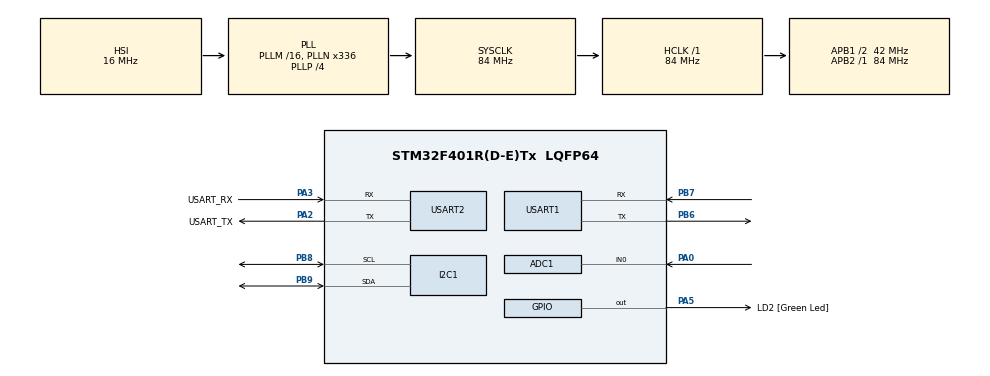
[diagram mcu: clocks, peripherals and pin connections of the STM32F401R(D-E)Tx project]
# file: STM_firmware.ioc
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ADC1.Channel-0\#ChannelRegularConversion=ADC_CHANNEL_0
ADC1.NbrOfConversionFlag=1
ADC1.Rank-0\#ChannelRegularConversion=1
ADC1.SamplingTime-0\#ChannelRegularConversion=ADC_SAMPLETIME_3CYCLES
ADC1.master=1
Mcu.Family=STM32F4
Mcu.Name=STM32F401R(D-E)Tx
Mcu.Package=LQFP64
NVIC.PriorityGroup=NVIC_PRIORITYGROUP_0
PA0-WKUP.Signal=ADCx_IN0
PA13.GPIO_Label=TMS
PA13.Mode=Serial_Wire
PA13.Signal=SYS_JTMS-SWDIO
PA14.GPIO_Label=TCK
PA14.Mode=Serial_Wire
PA14.Signal=SYS_JTCK-SWCLK
PA2.GPIO_Label=USART_TX
PA2.GPIO_Mode=GPIO_MODE_AF_PP
PA2.GPIO_PuPd=GPIO_NOPULL
PA2.GPIO_Speed=GPIO_SPEED_FREQ_LOW
PA2.Mode=Asynchronous
PA2.Signal=USART2_TX
PA3.GPIO_Label=USART_RX
PA3.GPIO_Mode=GPIO_MODE_AF_PP
PA3.GPIO_PuPd=GPIO_NOPULL
PA3.GPIO_Speed=GPIO_SPEED_FREQ_LOW
PA3.Mode=Asynchronous
PA3.Signal=USART2_RX
PA5.GPIO_Label=LD2 [Green Led]
PA5.GPIO_Mode=GPIO_MODE_OUTPUT_PP
PA5.GPIO_PuPd=GPIO_NOPULL
PA5.GPIO_Speed=GPIO_SPEED_FREQ_LOW
PA5.Signal=GPIO_Output
PB3.GPIO_Label=SWO
PB3.Signal=SYS_JTDO-SWO
PB6.Mode=Asynchronous
PB6.Signal=USART1_TX
PB7.Mode=Asynchronous
PB7.Signal=USART1_RX
PB8.Mode=I2C
PB8.Signal=I2C1_SCL
PB9.Mode=I2C
PB9.Signal=I2C1_SDA
PC14-OSC32_IN.Mode=LSE-External-Oscillator
PC14-OSC32_IN.Signal=RCC_OSC32_IN
PC15-OSC32_OUT.Mode=LSE-External-Oscillator
PC15-OSC32_OUT.Signal=RCC_OSC32_OUT
PH0\ -\ OSC_IN.Mode=HSE-External-Clock-Source
PH0\ -\ OSC_IN.Signal=RCC_OSC_IN
PH1\ -\ OSC_OUT.Mode=HSE-External-Clock-Source
PH1\ -\ OSC_OUT.Signal=RCC_OSC_OUT
ProjectManager.HeapSize=0x200
ProjectManager.StackSize=0x400
ProjectManager.TargetToolchain=STM32CubeIDE
RCC.48MHZClocksFreq_Value=48000000
RCC.AHBFreq_Value=84000000
RCC.APB1CLKDivider=RCC_HCLK_DIV2
RCC.APB1Freq_Value=42000000
RCC.APB1TimFreq_Value=84000000
RCC.APB2Freq_Value=84000000
RCC.APB2TimFreq_Value=84000000
RCC.CortexFreq_Value=84000000
RCC.HCLKFreq_Value=84000000
RCC.HSE_VALUE=8000000
RCC.HSI_VALUE=16000000
RCC.PLLN=336
RCC.PLLP=RCC_PLLP_DIV4
RCC.PLLQ=7
RCC.SYSCLKFreq_VALUE=84000000
RCC.SYSCLKSource=RCC_SYSCLKSOURCE_PLLCLK
RCC.VCOOutputFreq_Value=336000000
SH.ADCx_IN0.0=ADC1_IN0,IN0
USART1.VirtualMode=VM_ASYNC
USART2.VirtualMode=VM_ASYNC
board=NUCLEO-F401RE

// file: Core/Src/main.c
/* USER CODE BEGIN Header */
/**
  ******************************************************************************
  * @file           : main.c
  * @brief          : Main program body
  ******************************************************************************
  * @attention
  *
  * Copyright (c) 2024 STMicroelectronics.
  * All rights reserved.
  *
  * This software is licensed under terms that can be found in the LICENSE file
  * in the root directory of this software component.
  * If no LICENSE file comes with this software, it is provided AS-IS.
  *
  ******************************************************************************
  */
/* USER CODE END Header */
#include "main.h"

/* USER CODE BEGIN Includes */
#include <stdio.h>
#include <string.h>
/* USER CODE END Includes */

/* USER CODE BEGIN PTD */
typedef struct __attribute__((packed)) {
    uint8_t sof;
    float temperature;
    float humidity;
    float pressure;
    float voc;
    float co2;
    float lux;
    uint8_t crc;
    uint8_t eof;
} datapacket_t;

typedef struct {
    double par_t1, par_t2, par_t3, par_p1, par_p2, par_p3, par_p4, par_p5,
		par_p6, par_p7, par_p8, par_p9, par_p10, par_p11;
} bmp_calib_t;
/* USER CODE END PTD */

/* USER CODE BEGIN PD */
const unsigned char MICS_ADDRESS = 0x70;
const unsigned char HIH_ADDRESS  = 0x27;
unsigned char BMP_ADDRESS        = 0x76;	// Either 0x76 or 0x77 (will try both)

#define PACKET_SOF 0x55
#define PACKET_EOF 0xff

#define MICS_CMD_GET_STATUS 0x0C
#define MICS_VOC_VALUE 0
#define MICS_CO2_VALUE 1
#define MICS_RAW_VALUES 2
#define MICS_ERROR 5
/* USER CODE END PD */

/* USER CODE BEGIN PM */
#define BE_TO_LE(x) (x >> 8) | ((x & 0xff) << 8)  // Swap bytes

#define likely(x)       __builtin_expect(!!(x), 1)
#define unlikely(x)     __builtin_expect(!!(x), 0)
/* USER CODE END PM */

ADC_HandleTypeDef hadc1;

I2C_HandleTypeDef hi2c1;

UART_HandleTypeDef huart1;
UART_HandleTypeDef huart2;

void SystemClock_Config(void);
static void MX_GPIO_Init(void);
static void MX_USART2_UART_Init(void);
static void MX_ADC1_Init(void);
static void MX_I2C1_Init(void);
static void MX_USART1_UART_Init(void);
/* USER CODE BEGIN PFP */

/**
 * @brief Computes CRC
 * @param buffer Pointer to data on which CRC must be computed
 * @param size Size of the data
 * @retval Computed CRC
 */
static uint8_t calcCRC(uint8_t* buffer, size_t size) {
	uint16_t sum = 0;
	for (uint8_t i = 0; i < size; i++)
		sum += buffer[i];

	uint8_t crc = sum & 0xff;
	crc += (sum / 0x0100); 	// Add with carry
	crc = 0xFF-crc; 		// Complement

	return crc;
}

/**
 * @brief Writes data to BMP's registers
 * @param reg Which register to write to
 * @retval HAL_OK on success, HAL_ERROR otherwise
 */
static inline HAL_StatusTypeDef BMP_WriteRegister(uint8_t reg, uint8_t data) {
	return HAL_I2C_Mem_Write(&hi2c1, BMP_ADDRESS << 1, reg, I2C_MEMADD_SIZE_8BIT, &data, 1, 1000);
}

/**
 * @brief Configures the BMP
 * @param None
 * @retval HAL_OK on success, HAL_ERROR otherwise
 */
static inline HAL_StatusTypeDef BMP_ConfigSensor(void) {
	HAL_StatusTypeDef ret;

	// Soft reset the sensor
	ret = BMP_WriteRegister(0xE0, 0b10110110);
	if (unlikely(ret != HAL_OK))
		return ret;
	HAL_Delay(20);

	// Use 16X oversampling for pressure measurement, 2X for temp
	ret = BMP_WriteRegister(0x1c, 0b00001100);
	if (unlikely(ret != HAL_OK))
		return ret;

	// Use IIR filter coefficient 15
	ret = BMP_WriteRegister(0x1f, 0b00001000);
	if (unlikely(ret != HAL_OK))
		return ret;

	// 25Hz sample rate
	ret = BMP_WriteRegister(0x1d, 0b00000111);
	if (unlikely(ret != HAL_OK))
		return ret;

	// Normal mode, enable pressure and temperature
	ret = BMP_WriteRegister(0x1b, 0b00110011);

	return ret;
}

/**
 * @brief Reads calibration data from BMP
 * @param calib Pointer to where BMP's calibration data will be stored
 * @retval HAL_OK on success, HAL_ERROR otherwise
 */
static inline HAL_StatusTypeDef BMP_GetCalibrationData(bmp_calib_t* calib) {
	uint8_t buf[21];
	HAL_StatusTypeDef ret;

	ret = HAL_I2C_Mem_Read(
		&hi2c1,
		BMP_ADDRESS << 1,
		0x31,
		I2C_MEMADD_SIZE_8BIT,
		buf,
		21,
		1000
	);
	if (unlikely(ret != HAL_OK))
		return ret;

	/* 1 / 2^8 */
	calib->par_t1 = (buf[1] << 8) | buf[0];
	calib->par_t1 /= 0.00390625f;
	calib->par_t2 = (buf[3] << 8) | buf[2];
	calib->par_t2 /= 1073741824.0f;
	calib->par_t3 = buf[4];
	calib->par_t3 /= 281474976710656.0f;
	calib->par_p1 = (buf[6] << 8) | buf[5];
	calib->par_p1 -= 16384.0f;
	calib->par_p1 /= 1048576.0f;
	calib->par_p2 = (buf[8] << 8) | buf[7];
	calib->par_p2 -= 16384.0f;
	calib->par_p2 /= 536870912.0f;
	calib->par_p3 = buf[9];
	calib->par_p3 /= 4294967296.0f;
	calib->par_p4 = buf[10];
	calib->par_p4 /= 137438953472.0f;

	/* 1 / 2^3 */
	calib->par_p5 = (buf[12] << 8) | buf[11];
	calib->par_p5 /= 0.125f;
	calib->par_p6 = (buf[14] << 8) | buf[13];
	calib->par_p6 /= 64.0f;
	calib->par_p7 = buf[15];
	calib->par_p7 /= 256.0f;
	calib->par_p8 = buf[16];
	calib->par_p8 /= 32768.0f;
	calib->par_p9 = (buf[18] << 8) | buf[17];
	calib->par_p9 /= 281474976710656.0f;
	calib->par_p10 = buf[19];
	calib->par_p10 /= 281474976710656.0f;
	calib->par_p11 = buf[20];
	calib->par_p11 /= 36893488147419103232.0f;

	return HAL_OK;
}

/**
 * @brief Compansates raw temperature from BMP
 * @param comp_temp Value of the compensated temperature
 * @param calib Pointer to BMP's calibration data
 * @retval Compensated temperature
 */
static double BMP_CompensateTemperature(uint32_t uncomp_temp, bmp_calib_t* calib) {
	double partial_data1;
	double partial_data2;

	partial_data1 = (double)uncomp_temp - calib->par_t1;
	partial_data2 = partial_data1 * calib->par_t2;
	double t_lin = partial_data2 + (partial_data1 * partial_data1) * calib->par_t3;

	return t_lin;
}

/**
 * @brief Compansates raw pressure from BMP
 * @param uncomp_press Value of the uncompensated pressure
 * @param comp_temp Value of the compensated temperature
 * @param calib Pointer to BMP's calibration data
 * @retval Compensated pressure
 */
static double BMP_CompensatePressure(uint32_t uncomp_press, double comp_temp, bmp_calib_t* calib) {
	// Variable to store the compensated pressure
	double comp_press;

	// Temporary variables used for compensation
	double partial_data1;
	double partial_data2;
	double partial_data3;
	double partial_data4;
	double partial_out1;
	double partial_out2;

	// Calibration data
	partial_data1 = calib->par_p6 * comp_temp;
	partial_data2 = calib->par_p7 * (comp_temp * comp_temp);
	partial_data3 = calib->par_p8 * (comp_temp * comp_temp * comp_temp);
	partial_out1 = calib->par_p5 + partial_data1 + partial_data2 + partial_data3;
	partial_data1 = calib->par_p2 * comp_temp;
	partial_data2 = calib->par_p3 * (comp_temp * comp_temp);
	partial_data3 = calib->par_p4 * (comp_temp * comp_temp * comp_temp);
	partial_out2 = (double)uncomp_press * (calib->par_p1 + partial_data1 + partial_data2 + partial_data3);
	partial_data1 = (double)uncomp_press * (double)uncomp_press;
	partial_data2 = calib->par_p9 + calib->par_p10 * comp_temp;
	partial_data3 = partial_data1 * partial_data2;
	partial_data4 = partial_data3 + ((double)uncomp_press * (double)uncomp_press * (double)uncomp_press) * calib->par_p11;
	comp_press = partial_out1 + partial_out2 + partial_data4;

	return comp_press;
}

/**
 * @brief Reads data from BMP
 * @param raw_temp Pointer to u32 in which raw temperature will be stored
 * @param raw_press Pointer to u32 in which raw pressure will be stored
 * @retval HAL_OK on success, HAL_ERROR otherwise
 */
static HAL_StatusTypeDef BMP_ReadData(uint32_t* raw_temp, uint32_t* raw_press) {
	uint8_t buffer[6];
	HAL_StatusTypeDef ret;

	// Fetch data
	ret = HAL_I2C_Mem_Read(
		&hi2c1,
		BMP_ADDRESS << 1,
		0x04,
		I2C_MEMADD_SIZE_8BIT,
		buffer,
		6,
		1000
	);
	if (unlikely(ret != HAL_OK))
		return ret;

	*raw_press = buffer[0] | (buffer[1] << 8) | (buffer[2] << 16);
	*raw_temp = buffer[3] | (buffer[4] << 8) | (buffer[5] << 16);

	return HAL_OK;
}

/**
 * @brief Starts a new measurement on the HIH
 * @param None
 * @retval HAL_OK on success, HAL_ERROR otherwise
 */
static inline void HIH_SendWakeup(void) {
	HAL_StatusTypeDef ret;

	ret = HAL_I2C_IsDeviceReady(&hi2c1, HIH_ADDRESS << 1, 1, 1000);
	if (unlikely(ret != HAL_OK)) {
		// This is not supposed to happen
		// Communication between MCU and HIH7120 is lost
		puts("\x1B[91mERROR: HIH7120 unreachable, check wiring!\x1B[0m\r");
		Error_Handler();
	}
}

/**
 * @brief Reads data from HIH
 * @param hum Pointer to float in which humidity will be stored
 * @param temp Pointer to float in which temperature will be stored
 * @retval HAL_OK on success, HAL_ERROR otherwise
 */
static HAL_StatusTypeDef HIH_ReadData(float* hum, float* temp) {
	uint8_t buffer[4];
	HAL_StatusTypeDef ret;

	// Fetch data
	ret = HAL_I2C_Master_Receive(
		&hi2c1,
		HIH_ADDRESS << 1,
		buffer,
		4,
		1000
	);
	if (unlikely(ret != HAL_OK))
	  return ret;

	uint8_t status = buffer[0] >> 6;
	if (unlikely(status >= 2))
		return HAL_ERROR;	// Invalid flag combination

	if (status == 0x00) {
		// New sample, update data
		uint16_t raw_humidity = (uint16_t)buffer[1] | (((uint16_t)buffer[0] & 0x3f) << 8);
		uint16_t raw_temperature = ((uint16_t)buffer[3] >> 2) | (uint16_t)(buffer[2] << 6);
		*hum = (float)raw_humidity / ((1<<14) - 2.0f) * 100.0f;
		*temp = (float)raw_temperature / ((1<<14) - 2.0f) * 165.0f - 40.0f;
	} else {
		// Either old sample or invalid flag combination
		if (likely(status == 0x01)) {
			puts("WARN: Read old sample from HIH7120, data not updated\r");
		} else {
			puts("ERROR: HIH7120 status invalid\r");
			return HAL_ERROR;
		}
	}
	return HAL_OK;
}

/**
 * @brief Sends a command to the MICS
 * @param cmd Command to send
 * @retval HAL_OK on success, HAL_ERROR otherwise
 */
static inline HAL_StatusTypeDef MICS_SendCmd(uint8_t cmd) {
	uint8_t cmd_frame[6] = { cmd, 0x00, 0x00, 0x00, 0x00, 0x00 };

	cmd_frame[5] = calcCRC(cmd_frame, 5); // CRC includes command and 4 databytes, 6th byte is CRC
	return HAL_I2C_Master_Transmit(&hi2c1, MICS_ADDRESS << 1, cmd_frame, 6, 1000);
}

/**
 * @brief Reads data from MICS
 * @param voc Pointer to float in which VOC-level will be stored
 * @param co2 Pointer to float in which CO2-level will be stored
 * @retval HAL_OK on success, HAL_ERROR otherwise
 */
static HAL_StatusTypeDef MICS_ReadData(float* voc, float* co2) {
	uint8_t buffer[7];
	HAL_StatusTypeDef ret;

	// Fetch data
	ret = HAL_I2C_Master_Receive(&hi2c1, MICS_ADDRESS << 1, buffer, 7, 1000);
	if (unlikely(ret != HAL_OK))
		return ret;

	// Check frame CRC
	if (calcCRC(buffer, 6) != buffer[6])
		return HAL_ERROR; // Checksum error

	// Calculate CO2 and VOC
	*voc = ((float)buffer[MICS_VOC_VALUE] - 13.0f) * (1000.0f / 229.0f);
	*co2 = ((float)buffer[MICS_CO2_VALUE] - 13.0f) * (1600.0f / 229.0f) + 400.0f;

	return HAL_OK;
}

/**
 * @brief Checks if all I2C-sensors are reachable
 * @param None
 * @retval Zero if all sensors were reachable, -1 otherwise
 */
static int8_t CheckAllSensors(void) {
	int8_t error = 0;

	// HIH7120: temperature and rel. humidity
	if ( HAL_I2C_IsDeviceReady(&hi2c1, HIH_ADDRESS << 1, 1, 1000) != HAL_OK ) {
		puts("HIH7120 - FAILED\r");
		error = -1;
	} else {
		puts("HIH7120 - OK\r");
	}

	// MiCS-VZ-89TE: CO2 and VOC level
	if ( HAL_I2C_IsDeviceReady(&hi2c1, MICS_ADDRESS << 1, 1, 1000) != HAL_OK ) {
		puts("MiCS-VZ-89TE - FAILED\r");
		error = -1;
	} else {
		puts("MiCS-VZ-89TE - OK\r");
	}

	// BMP390: pressure and temperature
	int8_t bmp_ok = 0;
	if ( HAL_I2C_IsDeviceReady(&hi2c1, BMP_ADDRESS << 1, 1, 1000) != HAL_OK ) {
		// Address was not 0x76, try again with 0x77
		if ( HAL_I2C_IsDeviceReady(&hi2c1, ++BMP_ADDRESS << 1, 1, 1000) != HAL_OK )
			bmp_ok = -1;
	}
	if (bmp_ok == 0) {
		puts("BMP390 - OK\r");
	} else {
		puts("BMP390 - FAILED\r");
		error = -1;
	}

	return error;
}

/* USER CODE END PFP */

/* USER CODE BEGIN 0 */

// Required in order to use prinf-function
#ifdef __GNUC__
#define PUTCHAR_PROTOTYPE int __io_putchar(int ch)
#else
#define PUTCHAR_PROTOTYPE int fputc(int ch, FILE *f)
#endif

PUTCHAR_PROTOTYPE
{
  HAL_UART_Transmit(&huart2, (uint8_t *)&ch, 1, HAL_MAX_DELAY);
  return ch;
}

/* USER CODE END 0 */

int main(void)
{

  /* MCU Configuration--------------------------------------------------------*/

  /* Reset of all peripherals, Initializes the Flash interface and the Systick. */
  HAL_Init();

  /* Configure the system clock */
  SystemClock_Config();

  /* Initialize all configured peripherals */
  MX_GPIO_Init();
  MX_USART2_UART_Init();
  MX_ADC1_Init();
  MX_I2C1_Init();
  MX_USART1_UART_Init();
  /* USER CODE BEGIN 2 */

  puts("STM32 starting...\r");
  HAL_Delay(2000); // Give all sensors and ESP time to start up
  puts("Checking if all I2C-sensors are reachable...\r");
  if (unlikely( CheckAllSensors() < 0 )) {
	  // Critical error - print in (bright) red
	  puts("\x1B[91mERROR: Not all I2C-sensors are reachable, check wiring!\x1B[0m\r");
	  Error_Handler();
  } else {
	  puts("All I2C-sensors reachable\r");
  }

  // Init BMP390
  bmp_calib_t bmp_calib_data;

  puts("Configuring BMP390...\r");
  if (unlikely(BMP_ConfigSensor() != HAL_OK)) {
	  // Critical error - print in (bright) red
	  puts("\x1B[91mERROR: Failed to configure BMP390\x1B[0m\r");
	  Error_Handler();
  }

  puts("Reading BMP390's calibration data...\r");
  if (unlikely(BMP_GetCalibrationData(&bmp_calib_data) != HAL_OK)) {
	  // Critical error - print in (bright) red
  	  puts("\x1B[91mERROR: Failed to read BMP390's calibration data\x1B[0m\r");
  	  Error_Handler();
  }

  // Ready to start sampling data
  datapacket_t sample;
  sample.sof = PACKET_SOF;
  sample.eof = PACKET_EOF;

  HAL_GPIO_WritePin(LD2_GPIO_Port, LD2_Pin, GPIO_PIN_SET);
  puts("Starting to sample data...\r");

  /* USER CODE END 2 */

  /* Infinite loop */
  while (1)
  {

    /* USER CODE BEGIN 3 */

	// Prepare reading
	HAL_ADC_Start(&hadc1);
	HIH_SendWakeup();
	if (unlikely(MICS_SendCmd(MICS_CMD_GET_STATUS) != HAL_OK)) {
		puts("WARN: Failed to send get-status command to MICS, sample will be skipped\r");
		continue;
	}
	HAL_Delay(100);

	// Fetch data
	float voc, co2, humidity, temperature, pressure, lux;
	uint32_t bmp_raw_pressure, bmp_raw_temperature;
	double bmp_comp_temperature;

	if (unlikely(HAL_ADC_PollForConversion(&hadc1, 50) != HAL_OK)) {
		puts("WARN: Failed to read ADC, sample will be skipped\r");
		continue;
	}
	lux = (float)HAL_ADC_GetValue(&hadc1) * 0.244140625f;

	if (unlikely(MICS_ReadData(&voc, &co2) != HAL_OK)) {
		puts("WARN: Failed to read data from MICS, sample will be skipped\r");
		continue;
	}
	if (unlikely(HIH_ReadData(&humidity, &temperature) != HAL_OK)) {
		puts("WARN: Failed to read data from HIH7120, sample will be skipped\r");
		continue;
	}

	if (unlikely(BMP_ReadData(&bmp_raw_temperature, &bmp_raw_pressure) != HAL_OK)) {
		puts("WARN: Failed to read data from BMP390, sample will be skipped\r");
		continue;
	}
	bmp_comp_temperature = BMP_CompensateTemperature(bmp_raw_temperature, &bmp_calib_data);
	pressure = (float)BMP_CompensatePressure(bmp_raw_pressure, bmp_comp_temperature, &bmp_calib_data);

	printf("Temp BMP: %lf\n\r", bmp_comp_temperature);
	printf("Temp HIH: %f\n\r", temperature);
	printf("Pressure: %f\n\r", pressure);
	printf("Humidity: %f\n\r", humidity);
	printf("CO2: %f\n\r", co2);
	printf("VOC: %f\n\r", voc);
	printf("Lux: %f\n\r", lux);

	// Get average temperature
	//temperature += (float)bmp_comp_temperature;
	//temperature /= 2;

	// Prepare transmission to ESP
	sample.voc = voc;
	sample.co2 = co2;
	sample.humidity = humidity;
	sample.temperature = temperature;
	sample.pressure = pressure;
	sample.lux = lux;
	sample.crc = calcCRC((void *)&sample, sizeof(datapacket_t) - 2);

	// Transmit sample to ESP
	puts("Sending sample to ESP\r");
	HAL_UART_Transmit(&huart1, (void *)&sample, sizeof(datapacket_t), HAL_MAX_DELAY);

	HAL_Delay(10000-100);
  }
  /* USER CODE END 3 */
}

void SystemClock_Config(void)
{
  RCC_OscInitTypeDef RCC_OscInitStruct = {0};
  RCC_ClkInitTypeDef RCC_ClkInitStruct = {0};

  /** Configure the main internal regulator output voltage
  */
  __HAL_RCC_PWR_CLK_ENABLE();
  __HAL_PWR_VOLTAGESCALING_CONFIG(PWR_REGULATOR_VOLTAGE_SCALE2);

  /** Initializes the RCC Oscillators according to the specified parameters
  * in the RCC_OscInitTypeDef structure.
  */
  RCC_OscInitStruct.OscillatorType = RCC_OSCILLATORTYPE_HSI;
  RCC_OscInitStruct.HSIState = RCC_HSI_ON;
  RCC_OscInitStruct.HSICalibrationValue = RCC_HSICALIBRATION_DEFAULT;
  RCC_OscInitStruct.PLL.PLLState = RCC_PLL_ON;
  RCC_OscInitStruct.PLL.PLLSource = RCC_PLLSOURCE_HSI;
  RCC_OscInitStruct.PLL.PLLM = 16;
  RCC_OscInitStruct.PLL.PLLN = 336;
  RCC_OscInitStruct.PLL.PLLP = RCC_PLLP_DIV4;
  RCC_OscInitStruct.PLL.PLLQ = 7;
  if (HAL_RCC_OscConfig(&RCC_OscInitStruct) != HAL_OK)
  {
    Error_Handler();
  }

  /** Initializes the CPU, AHB and APB buses clocks
  */
  RCC_ClkInitStruct.ClockType = RCC_CLOCKTYPE_HCLK|RCC_CLOCKTYPE_SYSCLK
                              |RCC_CLOCKTYPE_PCLK1|RCC_CLOCKTYPE_PCLK2;
  RCC_ClkInitStruct.SYSCLKSource = RCC_SYSCLKSOURCE_PLLCLK;
  RCC_ClkInitStruct.AHBCLKDivider = RCC_SYSCLK_DIV1;
  RCC_ClkInitStruct.APB1CLKDivider = RCC_HCLK_DIV2;
  RCC_ClkInitStruct.APB2CLKDivider = RCC_HCLK_DIV1;

  if (HAL_RCC_ClockConfig(&RCC_ClkInitStruct, FLASH_LATENCY_2) != HAL_OK)
  {
    Error_Handler();
  }
}

static void MX_ADC1_Init(void)
{

  ADC_ChannelConfTypeDef sConfig = {0};

  /** Configure the global features of the ADC (Clock, Resolution, Data Alignment and number of conversion)
  */
  hadc1.Instance = ADC1;
  hadc1.Init.ClockPrescaler = ADC_CLOCK_SYNC_PCLK_DIV4;
  hadc1.Init.Resolution = ADC_RESOLUTION_12B;
  hadc1.Init.ScanConvMode = DISABLE;
  hadc1.Init.ContinuousConvMode = DISABLE;
  hadc1.Init.DiscontinuousConvMode = DISABLE;
  hadc1.Init.ExternalTrigConvEdge = ADC_EXTERNALTRIGCONVEDGE_NONE;
  hadc1.Init.ExternalTrigConv = ADC_SOFTWARE_START;
  hadc1.Init.DataAlign = ADC_DATAALIGN_RIGHT;
  hadc1.Init.NbrOfConversion = 1;
  hadc1.Init.DMAContinuousRequests = DISABLE;
  hadc1.Init.EOCSelection = ADC_EOC_SINGLE_CONV;
  if (HAL_ADC_Init(&hadc1) != HAL_OK)
  {
    Error_Handler();
  }

  /** Configure for the selected ADC regular channel its corresponding rank in the sequencer and its sample time.
  */
  sConfig.Channel = ADC_CHANNEL_0;
  sConfig.Rank = 1;
  sConfig.SamplingTime = ADC_SAMPLETIME_3CYCLES;
  if (HAL_ADC_ConfigChannel(&hadc1, &sConfig) != HAL_OK)
  {
    Error_Handler();
  }

}

static void MX_I2C1_Init(void)
{

  hi2c1.Instance = I2C1;
  hi2c1.Init.ClockSpeed = 100000;
  hi2c1.Init.DutyCycle = I2C_DUTYCYCLE_2;
  hi2c1.Init.OwnAddress1 = 0;
  hi2c1.Init.AddressingMode = I2C_ADDRESSINGMODE_7BIT;
  hi2c1.Init.DualAddressMode = I2C_DUALADDRESS_DISABLE;
  hi2c1.Init.OwnAddress2 = 0;
  hi2c1.Init.GeneralCallMode = I2C_GENERALCALL_DISABLE;
  hi2c1.Init.NoStretchMode = I2C_NOSTRETCH_DISABLE;
  if (HAL_I2C_Init(&hi2c1) != HAL_OK)
  {
    Error_Handler();
  }

}

static void MX_USART1_UART_Init(void)
{

  huart1.Instance = USART1;
  huart1.Init.BaudRate = 115200;
  huart1.Init.WordLength = UART_WORDLENGTH_8B;
  huart1.Init.StopBits = UART_STOPBITS_1;
  huart1.Init.Parity = UART_PARITY_NONE;
  huart1.Init.Mode = UART_MODE_TX_RX;
  huart1.Init.HwFlowCtl = UART_HWCONTROL_NONE;
  huart1.Init.OverSampling = UART_OVERSAMPLING_16;
  if (HAL_UART_Init(&huart1) != HAL_OK)
  {
    Error_Handler();
  }

}

static void MX_USART2_UART_Init(void)
{

  huart2.Instance = USART2;
  huart2.Init.BaudRate = 115200;
  huart2.Init.WordLength = UART_WORDLENGTH_8B;
  huart2.Init.StopBits = UART_STOPBITS_1;
  huart2.Init.Parity = UART_PARITY_NONE;
  huart2.Init.Mode = UART_MODE_TX_RX;
  huart2.Init.HwFlowCtl = UART_HWCONTROL_NONE;
  huart2.Init.OverSampling = UART_OVERSAMPLING_16;
  if (HAL_UART_Init(&huart2) != HAL_OK)
  {
    Error_Handler();
  }

}

static void MX_GPIO_Init(void)
{
  GPIO_InitTypeDef GPIO_InitStruct = {0};

  /* GPIO Ports Clock Enable */
  __HAL_RCC_GPIOC_CLK_ENABLE();
  __HAL_RCC_GPIOH_CLK_ENABLE();
  __HAL_RCC_GPIOA_CLK_ENABLE();
  __HAL_RCC_GPIOB_CLK_ENABLE();

  /*Configure GPIO pin Output Level */
  HAL_GPIO_WritePin(LD2_GPIO_Port, LD2_Pin, GPIO_PIN_RESET);

  /*Configure GPIO pin : LD2_Pin */
  GPIO_InitStruct.Pin = LD2_Pin;
  GPIO_InitStruct.Mode = GPIO_MODE_OUTPUT_PP;
  GPIO_InitStruct.Pull = GPIO_NOPULL;
  GPIO_InitStruct.Speed = GPIO_SPEED_FREQ_LOW;
  HAL_GPIO_Init(LD2_GPIO_Port, &GPIO_InitStruct);

}

void Error_Handler(void)
{
  /* USER CODE BEGIN Error_Handler_Debug */
  /* User can add his own implementation to report the HAL error return state */
  __disable_irq();
  while (1) {
	  HAL_GPIO_TogglePin(LD2_GPIO_Port, LD2_Pin);
	  // Systick interrupt is disabled, so HAL_Delay won't work
	  // Executing NOP's to mimic delay
	  for (volatile uint32_t i = 0; i < 750000; i++);
  }
  /* USER CODE END Error_Handler_Debug */
}
